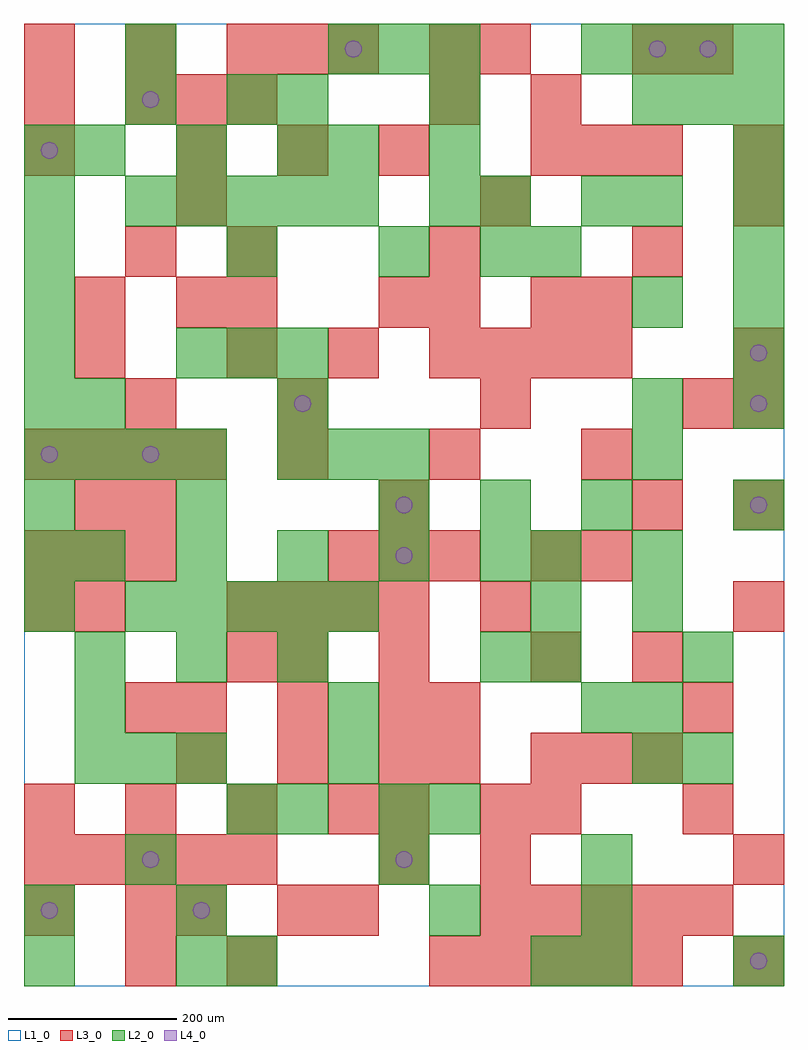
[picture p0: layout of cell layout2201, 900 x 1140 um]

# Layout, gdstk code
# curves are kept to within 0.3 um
import gdstk
lib = gdstk.Library(unit=1e-6, precision=1e-09)
def R(c, l, rs):  # rectangles x0, y0, x1, y1
    for r in rs: c.add(gdstk.rectangle(r[:2], r[2:], *l))
def A(c, l, x, y, w, h, nx, ny, dx, dy):  # array of equal rectangles
    R(c, l, [(x+i*dx, y+j*dy, x+i*dx+w, y+j*dy+h) for i in range(nx) for j in range(ny)])
def P(c, l, *ps):  # polygons
    for p in ps: c.add(gdstk.Polygon(p, *l))
L1_0 = (1, 0)
L2_0 = (2, 0)
L3_0 = (3, 0)
L4_0 = (4, 0)

layout2201 = lib.new_cell('layout2201')
R(layout2201, L1_0, [(0,0,900,1140)])
A(layout2201, L2_0, 660, 0, 60, 60, 1, 3, 0, 60)
A(layout2201, L2_0, 60, 240, 60, 60, 3, 1, 60, 0)
A(layout2201, L2_0, 60, 300, 60, 60, 3, 1, 300, 0)
A(layout2201, L2_0, 60, 360, 60, 60, 3, 2, 120, 600)
A(layout2201, L2_0, 600, 360, 60, 60, 1, 3, 0, 60)
A(layout2201, L2_0, 0, 420, 60, 60, 1, 3, 0, 60)
A(layout2201, L2_0, 120, 420, 60, 60, 5, 2, 60, 480)
A(layout2201, L2_0, 60, 480, 60, 60, 5, 1, 120, 0)
A(layout2201, L2_0, 420, 540, 60, 60, 3, 1, 120, 0)
A(layout2201, L2_0, 0, 600, 60, 60, 4, 1, 60, 0)
A(layout2201, L2_0, 300, 600, 60, 60, 3, 1, 60, 0)
A(layout2201, L2_0, 0, 660, 60, 60, 1, 6, 0, 60)
A(layout2201, L2_0, 720, 660, 60, 60, 1, 3, 0, 120)
A(layout2201, L2_0, 840, 660, 60, 60, 1, 6, 0, 60)
A(layout2201, L2_0, 180, 720, 60, 60, 3, 1, 60, 0)
A(layout2201, L2_0, 480, 900, 60, 60, 1, 3, 0, 60)
A(layout2201, L2_0, 720, 1020, 60, 60, 3, 1, 60, 0)
A(layout2201, L2_0, 360, 1080, 60, 60, 3, 1, 60, 0)
A(layout2201, L2_0, 660, 1080, 60, 60, 4, 1, 60, 0)
R(layout2201, L2_0, [(0,0,60,60), (180,0,240,60), (240,0,300,60), (600,0,660,60), (840,0,900,60), (0,60,60,120), (180,60,240,120), (480,60,540,120), (120,120,180,180), (420,120,480,180), (240,180,300,240), (300,180,360,240), (420,180,480,240), (480,180,540,240), (360,240,420,300), (720,240,780,300), (780,240,840,300), (720,300,780,360), (540,360,600,420), (780,360,840,420), (720,420,780,480), (720,480,780,540), (180,540,240,600), (840,540,900,600), (720,600,780,660), (60,660,120,720), (300,660,360,720), (240,840,300,900), (420,840,480,900), (540,840,600,900), (600,840,660,900), (540,900,600,960), (660,900,720,960), (360,960,420,1020), (120,1020,180,1080), (240,1020,300,1080), (300,1020,360,1080), (120,1080,180,1140)])
A(layout2201, L3_0, 480, 0, 60, 60, 5, 1, 60, 0)
A(layout2201, L3_0, 540, 60, 60, 60, 5, 1, 60, 0)
A(layout2201, L3_0, 0, 120, 60, 60, 5, 1, 60, 0)
A(layout2201, L3_0, 0, 180, 60, 60, 4, 1, 120, 0)
A(layout2201, L3_0, 180, 240, 60, 60, 3, 2, 120, 60)
A(layout2201, L3_0, 600, 240, 60, 60, 3, 2, 60, 720)
A(layout2201, L3_0, 240, 420, 60, 60, 4, 1, 60, 0)
A(layout2201, L3_0, 840, 420, 60, 60, 1, 3, 0, 120)
A(layout2201, L3_0, 0, 480, 60, 60, 3, 1, 60, 0)
A(layout2201, L3_0, 360, 480, 60, 60, 3, 1, 60, 0)
A(layout2201, L3_0, 120, 540, 60, 60, 3, 1, 300, 0)
A(layout2201, L3_0, 0, 600, 60, 60, 4, 1, 60, 0)
A(layout2201, L3_0, 300, 600, 60, 60, 3, 1, 180, 0)
A(layout2201, L3_0, 300, 660, 60, 60, 3, 1, 240, 0)
A(layout2201, L3_0, 240, 720, 60, 60, 3, 1, 120, 0)
A(layout2201, L3_0, 540, 720, 60, 60, 3, 1, 60, 0)
A(layout2201, L3_0, 240, 840, 60, 60, 3, 1, 240, 0)
A(layout2201, L3_0, 180, 960, 60, 60, 3, 1, 120, 0)
A(layout2201, L3_0, 120, 1020, 60, 60, 3, 1, 60, 0)
A(layout2201, L3_0, 0, 1080, 60, 60, 3, 1, 120, 0)
R(layout2201, L3_0, [(120,0,180,60), (240,0,300,60), (840,0,900,60), (0,60,60,120), (120,60,180,120), (180,60,240,120), (300,60,360,120), (360,60,420,120), (420,120,480,180), (540,120,600,180), (840,120,900,180), (420,180,480,240), (540,180,600,240), (600,180,660,240), (780,180,840,240), (480,240,540,300), (120,300,180,360), (480,300,540,360), (780,300,840,360), (240,360,300,420), (300,360,360,420), (420,360,480,420), (600,360,660,420), (720,360,780,420), (0,420,60,480), (60,420,120,480), (540,420,600,480), (600,480,660,540), (660,480,720,540), (60,540,120,600), (120,660,180,720), (60,720,120,780), (840,720,900,780), (60,780,120,840), (180,780,240,840), (240,780,300,840), (420,780,480,840), (480,780,540,840), (600,780,660,840), (660,780,720,840), (120,840,180,900), (180,900,240,960), (540,900,600,960), (840,900,900,960), (0,960,60,1020), (840,960,900,1020), (0,1020,60,1080), (480,1020,540,1080), (600,1020,660,1080), (300,1080,360,1140), (360,1080,420,1140), (480,1080,540,1140), (540,1080,600,1140), (720,1080,780,1140), (780,1080,840,1140)])
P(layout2201, L4_0, [(40,90),(39.239,93.827),(37.071,97.071),(33.827,99.239),(30,100),(26.173,99.239),(22.929,97.071),(20.761,93.827),(20,90),(20.761,86.173),(22.929,82.929),(26.173,80.761),(30,80),(33.827,80.761),(37.071,82.929),(39.239,86.173)],
  [(40,630),(39.239,633.827),(37.071,637.071),(33.827,639.239),(30,640),(26.173,639.239),(22.929,637.071),(20.761,633.827),(20,630),(20.761,626.173),(22.929,622.929),(26.173,620.761),(30,620),(33.827,620.761),(37.071,622.929),(39.239,626.173)],
  [(40,990),(39.239,993.827),(37.071,997.071),(33.827,999.239),(30,1000),(26.173,999.239),(22.929,997.071),(20.761,993.827),(20,990),(20.761,986.173),(22.929,982.929),(26.173,980.761),(30,980),(33.827,980.761),(37.071,982.929),(39.239,986.173)],
  [(160,150),(159.239,153.827),(157.071,157.071),(153.827,159.239),(150,160),(146.173,159.239),(142.929,157.071),(140.761,153.827),(140,150),(140.761,146.173),(142.929,142.929),(146.173,140.761),(150,140),(153.827,140.761),(157.071,142.929),(159.239,146.173)],
  [(160,630),(159.239,633.827),(157.071,637.071),(153.827,639.239),(150,640),(146.173,639.239),(142.929,637.071),(140.761,633.827),(140,630),(140.761,626.173),(142.929,622.929),(146.173,620.761),(150,620),(153.827,620.761),(157.071,622.929),(159.239,626.173)],
  [(160,1050),(159.239,1053.827),(157.071,1057.071),(153.827,1059.239),(150,1060),(146.173,1059.239),(142.929,1057.071),(140.761,1053.827),(140,1050),(140.761,1046.173),(142.929,1042.929),(146.173,1040.761),(150,1040),(153.827,1040.761),(157.071,1042.929),(159.239,1046.173)],
  [(220,90),(219.239,93.827),(217.071,97.071),(213.827,99.239),(210,100),(206.173,99.239),(202.929,97.071),(200.761,93.827),(200,90),(200.761,86.173),(202.929,82.929),(206.173,80.761),(210,80),(213.827,80.761),(217.071,82.929),(219.239,86.173)],
  [(340,690),(339.239,693.827),(337.071,697.071),(333.827,699.239),(330,700),(326.173,699.239),(322.929,697.071),(320.761,693.827),(320,690),(320.761,686.173),(322.929,682.929),(326.173,680.761),(330,680),(333.827,680.761),(337.071,682.929),(339.239,686.173)],
  [(400,1110),(399.239,1113.827),(397.071,1117.071),(393.827,1119.239),(390,1120),(386.173,1119.239),(382.929,1117.071),(380.761,1113.827),(380,1110),(380.761,1106.173),(382.929,1102.929),(386.173,1100.761),(390,1100),(393.827,1100.761),(397.071,1102.929),(399.239,1106.173)],
  [(460,150),(459.239,153.827),(457.071,157.071),(453.827,159.239),(450,160),(446.173,159.239),(442.929,157.071),(440.761,153.827),(440,150),(440.761,146.173),(442.929,142.929),(446.173,140.761),(450,140),(453.827,140.761),(457.071,142.929),(459.239,146.173)],
  [(460,510),(459.239,513.827),(457.071,517.071),(453.827,519.239),(450,520),(446.173,519.239),(442.929,517.071),(440.761,513.827),(440,510),(440.761,506.173),(442.929,502.929),(446.173,500.761),(450,500),(453.827,500.761),(457.071,502.929),(459.239,506.173)],
  [(460,570),(459.239,573.827),(457.071,577.071),(453.827,579.239),(450,580),(446.173,579.239),(442.929,577.071),(440.761,573.827),(440,570),(440.761,566.173),(442.929,562.929),(446.173,560.761),(450,560),(453.827,560.761),(457.071,562.929),(459.239,566.173)],
  [(760,1110),(759.239,1113.827),(757.071,1117.071),(753.827,1119.239),(750,1120),(746.173,1119.239),(742.929,1117.071),(740.761,1113.827),(740,1110),(740.761,1106.173),(742.929,1102.929),(746.173,1100.761),(750,1100),(753.827,1100.761),(757.071,1102.929),(759.239,1106.173)],
  [(820,1110),(819.239,1113.827),(817.071,1117.071),(813.827,1119.239),(810,1120),(806.173,1119.239),(802.929,1117.071),(800.761,1113.827),(800,1110),(800.761,1106.173),(802.929,1102.929),(806.173,1100.761),(810,1100),(813.827,1100.761),(817.071,1102.929),(819.239,1106.173)],
  [(880,30),(879.239,33.827),(877.071,37.071),(873.827,39.239),(870,40),(866.173,39.239),(862.929,37.071),(860.761,33.827),(860,30),(860.761,26.173),(862.929,22.929),(866.173,20.761),(870,20),(873.827,20.761),(877.071,22.929),(879.239,26.173)],
  [(880,570),(879.239,573.827),(877.071,577.071),(873.827,579.239),(870,580),(866.173,579.239),(862.929,577.071),(860.761,573.827),(860,570),(860.761,566.173),(862.929,562.929),(866.173,560.761),(870,560),(873.827,560.761),(877.071,562.929),(879.239,566.173)],
  [(880,690),(879.239,693.827),(877.071,697.071),(873.827,699.239),(870,700),(866.173,699.239),(862.929,697.071),(860.761,693.827),(860,690),(860.761,686.173),(862.929,682.929),(866.173,680.761),(870,680),(873.827,680.761),(877.071,682.929),(879.239,686.173)],
  [(880,750),(879.239,753.827),(877.071,757.071),(873.827,759.239),(870,760),(866.173,759.239),(862.929,757.071),(860.761,753.827),(860,750),(860.761,746.173),(862.929,742.929),(866.173,740.761),(870,740),(873.827,740.761),(877.071,742.929),(879.239,746.173)])

lib.write_gds('layout2201.gds')
